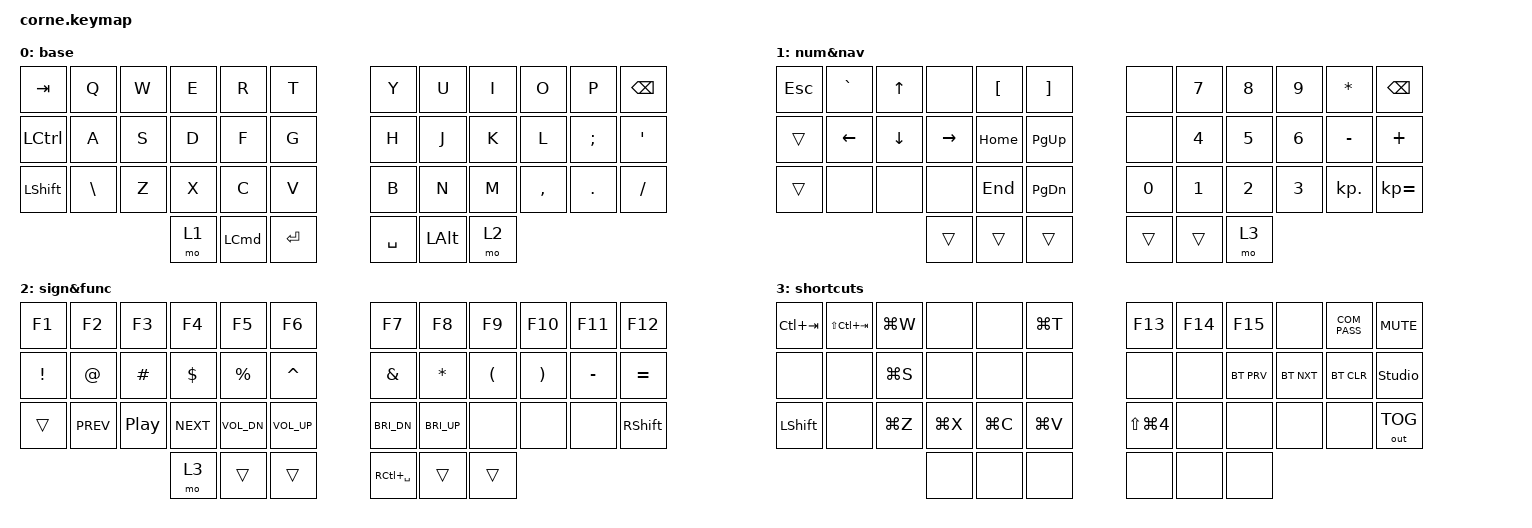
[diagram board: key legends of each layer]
/*
 * Copyright (c) 2020 The ZMK Contributors
 *
 * SPDX-License-Identifier: MIT
 */

#include <behaviors.dtsi>
#include <dt-bindings/zmk/bt.h>
#include <dt-bindings/zmk/keys.h>
#include <dt-bindings/zmk/outputs.h>

/ {
    combos {
        compatible = "zmk,combos";

        shortcuts_layer {
            bindings = <&mo 3>;
            key-positions = <36 41>;
            layers = <0>;
        };

        lock_screen {
            bindings = <&kp LC(LG(Q))>;
            key-positions = <0 11>;
            layers = <3>;
        };

        bluetooth {
            bindings = <&mo 0>;
            key-positions = <36 37 40 41>;
        };
    };

    macros {
        COM_PASS: COM_PASS {
            compatible = "zmk,behavior-macro";
            label = "COM_PASS";
            #binding-cells = <0>;
            bindings = <&kp N &kp A &kp M &kp N &kp H &kp U &kp AT &kp F &kp A &kp S &kp O &kp L &kp U &kp T &kp I &kp O &kp N &kp S &kp N8>;
        };
    };

    keymap {
        compatible = "zmk,keymap";

        base {
            // -----------------------------------------------------------------------------------------
            // |  TAB |  Q  |  W  |  E  |  R  |  T  |   |  Y  |  U   |  I  |  O  |  P  | BKSP |
            // | CTRL |  A  |  S  |  D  |  F  |  G  |   |  H  |  J   |  K  |  L  |  ;  |  '   |
            // | SHFT |  Z  |  X  |  C  |  V  |  B  |   |  N  |  M   |  ,  |  .  |  /  | ESC  |
            //                    | GUI | LWR | SPC |   | ENT | RSE  | ALT |

            bindings = <
&kp TAB    &kp Q          &kp W  &kp E  &kp R             &kp T        &kp Y      &kp U         &kp I  &kp O      &kp P     &kp BSPC
&kp LCTRL  &kp A          &kp S  &kp D  &kp F             &kp G        &kp H      &kp J         &kp K  &kp L      &kp SEMI  &kp SQT
&kp LSHFT  &kp BACKSLASH  &kp Z  &kp X  &kp C             &kp V        &kp B      &kp N         &kp M  &kp COMMA  &kp DOT   &kp SLASH
                                 &mo 1  &kp LEFT_COMMAND  &kp ENTER    &kp SPACE  &kp LEFT_ALT  &mo 2
            >;

            label = "base";
        };

        num_nav {
            // -----------------------------------------------------------------------------------------
            // |  TAB |  1  |  2  |  3  |  4  |  5  |   |  6  |  7  |  8  |  9  |  0  | BKSP |
            // | BTCLR| BT1 | BT2 | BT3 | BT4 | BT5 |   | LFT | DWN |  UP | RGT |     |      |
            // | SHFT |     |     |     |     |     |   |     |     |     |     |     |      |
            //                    | GUI |     | SPC |   | ENT |     | ALT |

            bindings = <
&kp ESCAPE  &kp GRAVE  &kp UP    &none      &kp LEFT_BRACKET  &kp RIGHT_BRACKET    &none   &kp N7        &kp N8  &kp N9  &kp STAR    &kp BACKSPACE
&trans      &kp LEFT   &kp DOWN  &kp RIGHT  &kp HOME          &kp PG_UP            &none   &kp N4        &kp N5  &kp N6  &kp MINUS   &kp PLUS
&trans      &none      &none     &none      &kp END           &kp PG_DN            &kp N0  &kp NUMBER_1  &kp N2  &kp N3  &kp KP_DOT  &kp KP_EQUAL
                                 &trans     &trans            &trans               &trans  &trans        &mo 3
            >;

            label = "num&nav";
        };

        sign_func {
            // -----------------------------------------------------------------------------------------
            // |  TAB |  !  |  @  |  #  |  $  |  %  |   |  ^  |  &  |  *  |  (  |  )  | BKSP |
            // | CTRL |     |     |     |     |     |   |  -  |  =  |  [  |  ]  |  \  |  `   |
            // | SHFT |     |     |     |     |     |   |  _  |  +  |  {  |  }  | "|" |  ~   |
            //                    | GUI |     | SPC |   | ENT |     | ALT |

            bindings = <
&kp F1           &kp F2       &kp F3    &kp F4      &kp F5        &kp F6          &kp F7         &kp F8        &kp F9                &kp F10                &kp F11    &kp F12
&kp EXCLAMATION  &kp AT_SIGN  &kp HASH  &kp DOLLAR  &kp PERCENT   &kp CARET       &kp AMPERSAND  &kp ASTERISK  &kp LEFT_PARENTHESIS  &kp RIGHT_PARENTHESIS  &kp MINUS  &kp EQUAL
&trans           &kp C_PREV   &kp C_PP  &kp C_NEXT  &kp C_VOL_DN  &kp C_VOL_UP    &kp C_BRI_DN   &kp C_BRI_UP  &none                 &none                  &none      &kp RIGHT_SHIFT
                                        &mo 3       &trans        &trans          &kp RC(SPACE)  &trans        &trans
            >;

            label = "sign&func";
        };

        shortcuts {
            bindings = <
&kp LC(TAB)     &kp LS(LC(TAB))  &kp LG(W)  &none      &none      &kp LG(T)    &kp F13               &kp F14  &kp F15     &none       &COM_PASS   &kp C_MUTE
&none           &none            &kp LG(S)  &none      &none      &none        &none                 &none    &bt BT_PRV  &bt BT_NXT  &bt BT_CLR  &studio_unlock
&kp LEFT_SHIFT  &none            &kp LG(Z)  &kp LG(X)  &kp LG(C)  &kp LG(V)    &kp LS(LG(NUMBER_4))  &none    &none       &none       &none       &out OUT_TOG
                                            &none      &none      &none        &none                 &none    &none
            >;

            label = "shortcuts";
        };
    };
};
